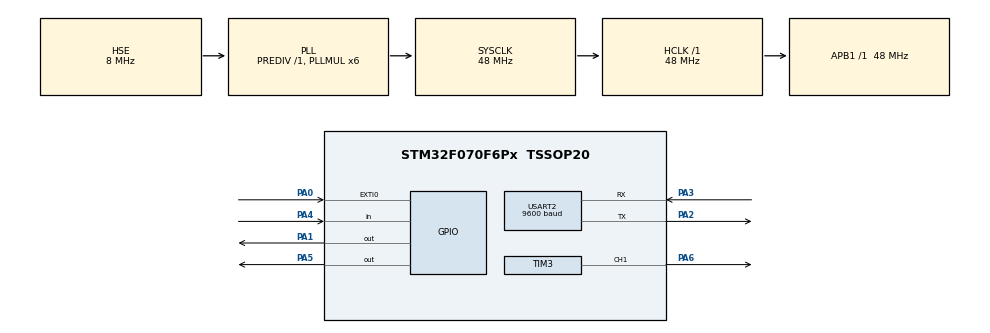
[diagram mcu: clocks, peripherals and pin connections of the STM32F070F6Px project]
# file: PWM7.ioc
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Dma.Request0=USART2_TX
Dma.Request1=USART2_RX
Dma.USART2_RX.1.Direction=DMA_PERIPH_TO_MEMORY
Dma.USART2_RX.1.Instance=DMA1_Channel5
Dma.USART2_RX.1.MemDataAlignment=DMA_MDATAALIGN_BYTE
Dma.USART2_RX.1.MemInc=DMA_MINC_ENABLE
Dma.USART2_RX.1.Mode=DMA_NORMAL
Dma.USART2_RX.1.PeriphDataAlignment=DMA_PDATAALIGN_BYTE
Dma.USART2_RX.1.PeriphInc=DMA_PINC_DISABLE
Dma.USART2_RX.1.Priority=DMA_PRIORITY_LOW
Dma.USART2_TX.0.Direction=DMA_MEMORY_TO_PERIPH
Dma.USART2_TX.0.Instance=DMA1_Channel4
Dma.USART2_TX.0.MemDataAlignment=DMA_MDATAALIGN_BYTE
Dma.USART2_TX.0.MemInc=DMA_MINC_ENABLE
Dma.USART2_TX.0.Mode=DMA_NORMAL
Dma.USART2_TX.0.PeriphDataAlignment=DMA_PDATAALIGN_BYTE
Dma.USART2_TX.0.PeriphInc=DMA_PINC_DISABLE
Dma.USART2_TX.0.Priority=DMA_PRIORITY_LOW
Mcu.Family=STM32F0
Mcu.Name=STM32F070F6Px
Mcu.Package=TSSOP20
NVIC.DMA1_Channel4_5_IRQn=true\:0\:0\:false\:false\:true\:false\:true\:true
NVIC.EXTI0_1_IRQn=true\:1\:0\:true\:true\:true\:1\:true\:true\:true
NVIC.TIM14_IRQn=true\:0\:0\:false\:false\:true\:true\:true\:true
NVIC.TIM1_BRK_UP_TRG_COM_IRQn=true\:0\:0\:false\:false\:true\:true\:true\:true
NVIC.TIM3_IRQn=true\:2\:0\:true\:true\:true\:2\:true\:true\:true
NVIC.USART2_IRQn=true\:3\:0\:true\:false\:true\:true\:true\:true
PA0.GPIO_PuPd=GPIO_PULLDOWN
PA0.Signal=GPXTI0
PA1.Signal=GPIO_Output
PA2.Mode=Asynchronous
PA2.Signal=USART2_TX
PA3.Mode=Asynchronous
PA3.Signal=USART2_RX
PA4.GPIO_PuPd=GPIO_PULLDOWN
PA4.Signal=GPIO_Input
PA5.Signal=GPIO_Output
PA6.Signal=S_TIM3_CH1
PF0-OSC_IN.Mode=HSE-External-Oscillator
PF0-OSC_IN.Signal=RCC_OSC_IN
PF1-OSC_OUT.Mode=HSE-External-Oscillator
PF1-OSC_OUT.Signal=RCC_OSC_OUT
ProjectManager.HeapSize=0x200
ProjectManager.StackSize=0x400
ProjectManager.TargetToolchain=STM32CubeIDE
RCC.AHBFreq_Value=48000000
RCC.APB1Freq_Value=48000000
RCC.APB1TimFreq_Value=48000000
RCC.HCLKFreq_Value=48000000
RCC.PLLMUL=RCC_PLL_MUL6
RCC.PLLSourceVirtual=RCC_PLLSOURCE_HSE
RCC.SYSCLKFreq_VALUE=48000000
RCC.SYSCLKSource=RCC_SYSCLKSOURCE_PLLCLK
SH.S_TIM3_CH1.0=TIM3_CH1,PWM Generation1 CH1
TIM1.Channel-Output\ Compare2\ No\ Output=TIM_CHANNEL_2
TIM1.Period=65535
TIM1.Prescaler=48-1
TIM1.Pulse-Output\ Compare2\ No\ Output=0
TIM14.Channel=TIM_CHANNEL_1
TIM14.Period=100-1
TIM14.Prescaler=48000-1
TIM3.Channel-PWM\ Generation1\ CH1=TIM_CHANNEL_1
TIM3.Period=50-1
TIM3.Prescaler=24-1
TIM3.Pulse-PWM\ Generation1\ CH1=25-1
USART2.BaudRate=9600
USART2.VirtualMode-Asynchronous=VM_ASYNC
VP_TIM14_VS_ClockSourceINT.Mode=Enable_Timer
VP_TIM14_VS_no_output1.Mode=Output Compare1 No Output
VP_TIM1_VS_ClockSourceINT.Mode=Internal
VP_TIM1_VS_no_output2.Mode=Output Compare2 No Output
board=custom

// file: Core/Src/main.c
/* USER CODE BEGIN Header */
/**
  ******************************************************************************
  * @file           : main.c
  * @brief          : Main program body
  ******************************************************************************
  * @attention
  *
  * <h2><center>&copy; Copyright (c) 2023 STMicroelectronics.
  * All rights reserved.</center></h2>
  *
  * This software component is licensed by ST under BSD 3-Clause license,
  * the "License"; You may not use this file except in compliance with the
  * License. You may obtain a copy of the License at:
  *                        opensource.org/licenses/BSD-3-Clause
  *
  ******************************************************************************
  */
/* USER CODE END Header */
#include "main.h"
#include "dma.h"
#include "tim.h"
#include "usart.h"
#include "gpio.h"

/* USER CODE BEGIN Includes */
#include <string.h>
#include <stdarg.h>
#include <stdio.h>
/* USER CODE END Includes */

/* USER CODE BEGIN PTD */
#define N3_VER  "V1.001"

//40Hz = 5000, 12Hz = 16666, 10Hz = 20000, 8Hz = 25000
#define freq_40Hz  5000-1;
#define freq_12Hz  16666-1;
#define freq_10Hz  20000-1;
#define freq_8Hz   25000-1;

#define MAX_RX_BUFFER 20
#define MAX_TX_BUFFER 50
#define MainBuf_SIZE 20
//Octave 4,5  ex) 48MHz / 240(prescale) / 440(4 octave A) = 455
enum notes{
	c = 7645,	c_s = 7215,	d = 6810,	d_s = 6428,    e = 6067,    f = 5727,    f_s = 5405,	g = 5102,	g_s = 4816,	a = 4545, 	a_s = 4290,	b = 4050, //4 octave
	C = 3822,	C_s = 3608,	D = 3405,	D_s = 3214,    E = 3034,    F = 2863,    F_s = 2703,	G = 2551,	G_s = 2408,	A = 2273, 	A_s = 2145,	B = 2025  //5 octave
};

uint16_t ms_count = 0;
uint16_t s_count = 0;
uint16_t PWM_Width = 1;
uint8_t RxBuffer[MAX_RX_BUFFER];
uint8_t TxBuffer[MAX_TX_BUFFER];
uint8_t MainBuffer[MainBuf_SIZE];
uint8_t TxBuffer_end = 0;
/* USER CODE END PTD */

/* USER CODE BEGIN PV */
uint8_t Tx_Ver[] = N3_VER;    //UART TX Buffer init
//Define Uart Command
char *search_COMMAND1 = "1";
char *search_COMMAND2 = "2";
char *search_COMMAND3 = "3";
char *search_COMMAND4 = "4";
char *search_COMMAND5 = "5";
char *search_COMMAND6 = "6";
char *search_COMMAND7 = "7";
char *search_STATUS   = "STATUS";
char *search_CONNECTED = "CONNECTED";
char *search_DISCONNECTED = "DISCONNECTED";
uint8_t Current_mode = 1;

uint16_t Close_Bell[] = { 0, C/2, A, F, C };
uint16_t Close_interval[] = { 250, 250, 250, 250, 250};
/* USER CODE END PV */

void SystemClock_Config(void);
static void MX_NVIC_Init(void);

/* USER CODE BEGIN 0 */
_Bool status = 0; // 1?��?�� ?��?��, 0?��?�� 종료

uint8_t rx2_data;
uint8_t opcode = '0';
uint8_t Charging_Status;

void startBR(){
	if(status)
	{
		HAL_TIM_PWM_Stop(&htim3, TIM_CHANNEL_1);
		HAL_GPIO_WritePin(GPIOA, GPIO_PIN_1, GPIO_PIN_RESET);
		status = 0;
	}
	else
	{
		status = 1;
		TIM3->PSC = 240-1;
		TIM3->ARR = freq_40Hz;
		TIM3->CCR1 = TIM3->ARR/2-1; //Duty 50:50
		HAL_TIM_PWM_Start(&htim3, TIM_CHANNEL_1);
		HAL_GPIO_WritePin(GPIOA, GPIO_PIN_1, GPIO_PIN_SET);
//		TIM1->CCR1 = 0;

	}
}
void Sound_Open(){
	//	uint16_t LG_Bell[] =  { D/2, G/2, F_s/2, E/2, D/2, b/2, C/2, D/2, E/2, a/2, b/2, C/2, b/2, D/2,
	//							D/2, G/2, F_s/2, E/2, D/2, G/2, G/2, A/2, G/2, F_s/2, E/2, F_s/2, G/2 };
	//	uint16_t LG_interval[] = {	375, 166, 166, 166, 375, 375, 166, 166, 166, 166, 166, 166, 375, 375, 375, 166, 166, 166, 375, 375, 166, 166, 166, 166, 166, 166, 500};

	uint16_t Bell[] =  { D, G, B, D/2 };
	uint16_t interval[] = {	250, 250, 250, 250 };
	if (TIM3->PSC != 24-1) { TIM3->PSC = 24-1 ; } //prescaler change
	for(int i=0; i < (sizeof(Bell)/sizeof(Bell[0])); i++)
		{
		HAL_TIM_PWM_Start(&htim3, TIM_CHANNEL_1);
		  TIM3->ARR = Bell[i]-1;
		  TIM3->CCR1 = TIM3->ARR/2-1;
//		  PWM_Width = (TIM3->ARR+1)/500;

		  for(int j=502; j>2; j--)
		  {
			  TIM3->CCR1 = (TIM3->ARR/2) - (TIM3->ARR/j);
			  delay_us(interval[i]*2);
		  }
		  HAL_TIM_PWM_Stop(&htim3, TIM_CHANNEL_1);
		}

}
void Sound_Close(){

	if (TIM3->PSC != 24-1) { TIM3->PSC = 24-1 ; } //prescaler change
	for(int i=0; i < (sizeof(Close_Bell)/sizeof(Close_Bell[0])); i++)
	{
	  HAL_TIM_PWM_Start(&htim3, TIM_CHANNEL_1);
	  TIM3->ARR = Close_Bell[i]-1;
	  if(TIM3->ARR != Close_Bell[i]-1) { TIM3->ARR = Close_Bell[i]-1;   }//frequency
//		  PWM_Width = (TIM3->ARR+1)/500;

	  for(int j=502; j>2; j--)
	  {
		  TIM3->CCR1 = (TIM3->ARR/2) - (TIM3->ARR/j); //duty ratio
		  delay_us(Close_interval[i]*2);
	  }
	  HAL_TIM_PWM_Stop(&htim3, TIM_CHANNEL_1);
	}

}
/* USER CODE END 0 */

int main(void)
{

  /* MCU Configuration--------------------------------------------------------*/

  /* Reset of all peripherals, Initializes the Flash interface and the Systick. */
  HAL_Init();

  /* USER CODE BEGIN Init */
  HAL_Delay(300);
  /* USER CODE END Init */

  /* Configure the system clock */
  SystemClock_Config();

  /* Initialize all configured peripherals */
  MX_GPIO_Init();
  MX_DMA_Init();
  MX_TIM3_Init();
  MX_USART2_UART_Init();
  MX_TIM1_Init();
  MX_TIM14_Init();

  /* Initialize interrupts */
  MX_NVIC_Init();
  /* USER CODE BEGIN 2 */

  HAL_TIM_Base_Start(&htim1); //for delay_us

  if(HAL_GPIO_ReadPin(GPIOA, GPIO_PIN_4)==1) { HAL_GPIO_WritePin(GPIOA, GPIO_PIN_5, 0);  } //if N3 Status is Charing, Shut down System.
  else{
	  HAL_GPIO_WritePin(GPIOA, GPIO_PIN_5, 1); // Turn on Status LED
	  HAL_Delay(100);
	//  Sound_Close();
	//  HAL_Delay(1000);
	  Sound_Open();
	  HAL_Delay(1000);
	  HAL_TIM_Base_Start_IT(&htim14); //for timer interrupt
	  /* UART Rx_DMA */
	  HAL_UARTEx_ReceiveToIdle_DMA(&huart2, RxBuffer, MAX_RX_BUFFER); // Receive an amount of data in DMA mode till either the expected number of data is received or an IDLE event occurs.
	  __HAL_DMA_DISABLE_IT(&hdma_usart2_rx, DMA_IT_HT);
	  /* UART Rx_DMA */
	  status = 0;
	  startBR();
	  HAL_Delay(100);
	//  Sound_Close();
	//  HAL_TIM_Base_Stop(&htim1);
	//  HAL_GPIO_WritePin(GPIOA, GPIO_PIN_5, 0); //LDO Off

	  /* USER CODE END 2 */

	  /* Infinite loop */
	  /* USER CODE BEGIN WHILE */
  }
  while (1)
  {
	  while(Charging_Status == 0)
	  {
		  if(s_count < 1800) //1800 s = 30min
		  {

			  HAL_UARTEx_ReceiveToIdle_DMA(&huart2, RxBuffer, MAX_RX_BUFFER);
			__HAL_DMA_DISABLE_IT(&hdma_usart2_rx, DMA_IT_HT);

		  }
		  else if(s_count >= 1800)
		  {
			  HAL_TIM_PWM_Stop(&htim3, TIM_CHANNEL_1);
			  Sound_Close();
			  HAL_TIM_Base_Stop(&htim1);
			  HAL_GPIO_WritePin(GPIOA, GPIO_PIN_5, 0); //LDO Off
		  }
	  }

    /* USER CODE END WHILE */

  }
}

void SystemClock_Config(void)
{
  RCC_OscInitTypeDef RCC_OscInitStruct = {0};
  RCC_ClkInitTypeDef RCC_ClkInitStruct = {0};

  /** Initializes the RCC Oscillators according to the specified parameters
  * in the RCC_OscInitTypeDef structure.
  */
  RCC_OscInitStruct.OscillatorType = RCC_OSCILLATORTYPE_HSE;
  RCC_OscInitStruct.HSEState = RCC_HSE_ON;
  RCC_OscInitStruct.PLL.PLLState = RCC_PLL_ON;
  RCC_OscInitStruct.PLL.PLLSource = RCC_PLLSOURCE_HSE;
  RCC_OscInitStruct.PLL.PLLMUL = RCC_PLL_MUL6;
  RCC_OscInitStruct.PLL.PREDIV = RCC_PREDIV_DIV1;
  if (HAL_RCC_OscConfig(&RCC_OscInitStruct) != HAL_OK)
  {
    Error_Handler();
  }
  /** Initializes the CPU, AHB and APB buses clocks
  */
  RCC_ClkInitStruct.ClockType = RCC_CLOCKTYPE_HCLK|RCC_CLOCKTYPE_SYSCLK
                              |RCC_CLOCKTYPE_PCLK1;
  RCC_ClkInitStruct.SYSCLKSource = RCC_SYSCLKSOURCE_PLLCLK;
  RCC_ClkInitStruct.AHBCLKDivider = RCC_SYSCLK_DIV1;
  RCC_ClkInitStruct.APB1CLKDivider = RCC_HCLK_DIV1;

  if (HAL_RCC_ClockConfig(&RCC_ClkInitStruct, FLASH_LATENCY_1) != HAL_OK)
  {
    Error_Handler();
  }
}

/**
  * @brief NVIC Configuration.
  * @retval None
  */
static void MX_NVIC_Init(void)
{
  /* EXTI0_1_IRQn interrupt configuration */
  HAL_NVIC_SetPriority(EXTI0_1_IRQn, 1, 0);
  HAL_NVIC_EnableIRQ(EXTI0_1_IRQn);
  /* TIM3_IRQn interrupt configuration */
  HAL_NVIC_SetPriority(TIM3_IRQn, 2, 0);
  HAL_NVIC_EnableIRQ(TIM3_IRQn);
}

/* USER CODE BEGIN 4 */
void HAL_TIM_PeriodElapsedCallback(TIM_HandleTypeDef *htim)
{
	if(htim->Instance == TIM14)
	{
		Charging_Status = HAL_GPIO_ReadPin(GPIOA, GPIO_PIN_4);
		if(Charging_Status == 1) { HAL_GPIO_WritePin(GPIOA, GPIO_PIN_5, 0); HAL_TIM_Base_Stop(&htim1); HAL_TIM_PWM_Stop(&htim3, TIM_CHANNEL_1);} //if N3 Status is Charing, Shut down System.
//		if(status == 0)
//		{
			ms_count++;
			if(ms_count >= 10) { s_count++; ms_count = 0; } //TIM14 100ms interrupt 100ms* 10= 1s
			if(s_count >= 65535) { s_count = 0; }
//	}
	}
}
void HAL_UARTEx_RxEventCallback(UART_HandleTypeDef *huart, uint16_t Size)
//void HAL_UART_RxCpltCallback(UART_HandleTypeDef *huart)
{

	if(huart->Instance == USART2)
	{
//		HAL_GPIO_TogglePin(GPIOA, GPIO_PIN_1);
		memcpy(MainBuffer, RxBuffer, sizeof(RxBuffer));
		memset(RxBuffer, 0, sizeof(RxBuffer));

		if(strstr((const char *)MainBuffer, search_CONNECTED) != NULL)// DIS"CONNECTED , CONNECTED
		{

			if(strstr((const char *)MainBuffer, search_DISCONNECTED) != NULL)
			{ 	HAL_GPIO_WritePin(GPIOA, GPIO_PIN_1, 1); }//if BT disconnected, turn on power LED.
			else
			{	HAL_GPIO_WritePin(GPIOA, GPIO_PIN_1, 0); }//if BT connected, turn off power LED.}
			TxBuffer_end = strlen((const char *)MainBuffer);
				print("%s",MainBuffer);
		}
		else if(strstr((const char *)MainBuffer, search_COMMAND1) != NULL)
		{
			HAL_TIM_PWM_Stop(&htim3, TIM_CHANNEL_1);
			TIM3->PSC = 240-1; //prescaler change		//Duty ON:OFF = 50:50
			TIM3->ARR = freq_40Hz; //
			TIM3->CCR1 = (TIM3->ARR+1)/2-1;
			HAL_TIM_PWM_Start(&htim3, TIM_CHANNEL_1);
			Current_mode = 1;

			TxBuffer_end = strlen((const char *)MainBuffer);
			print("%s",MainBuffer);
		}
		else if(strstr((const char *)MainBuffer, search_COMMAND2) != NULL)
		{
			HAL_TIM_PWM_Stop(&htim3, TIM_CHANNEL_1);
			TIM3->PSC = 240-1; //prescaler change		//Duty ON:OFF = 25:75
			TIM3->ARR = freq_40Hz; //40Hz
			TIM3->CCR1 = (TIM3->ARR+1)/4-1;
			HAL_TIM_PWM_Start(&htim3, TIM_CHANNEL_1);
			Current_mode = 2;
			TxBuffer_end = strlen((const char *)MainBuffer);
			print("%s",MainBuffer);
		}
		else if(strstr((const char *)MainBuffer, search_COMMAND3) != NULL)
		{
			HAL_TIM_PWM_Stop(&htim3, TIM_CHANNEL_1);
			TIM3->PSC = 240-1; //prescaler change		//Duty ON:OFF = 20:80
			TIM3->ARR = freq_40Hz; //40Hz
			TIM3->CCR1 = (TIM3->ARR+1)/5-1;
			HAL_TIM_PWM_Start(&htim3, TIM_CHANNEL_1);
			Current_mode = 3;
			TxBuffer_end = strlen((const char *)MainBuffer);
			print("%s",MainBuffer);
		}
		else if(strstr((const char *)MainBuffer, search_COMMAND4) != NULL)
		{
			HAL_TIM_PWM_Stop(&htim3, TIM_CHANNEL_1);
			TIM3->PSC = 240-1; //prescaler change		//Duty ON:OFF = 10:90
			TIM3->ARR = freq_40Hz; //40Hz
			TIM3->CCR1 = (TIM3->ARR+1)/10-1;
			HAL_TIM_PWM_Start(&htim3, TIM_CHANNEL_1);
			Current_mode = 4;
			TxBuffer_end = strlen((const char *)MainBuffer);
			print("%s",MainBuffer);
		}
		else if(strstr((const char *)MainBuffer, search_COMMAND5) != NULL)
		{
			HAL_TIM_PWM_Stop(&htim3, TIM_CHANNEL_1);
			TIM3->PSC = 240-1; //prescaler change		//Duty ON:OFF = 50:50
			TIM3->ARR = freq_12Hz; //12Hz
			TIM3->CCR1 = (TIM3->ARR+1)/2-1;
			HAL_TIM_PWM_Start(&htim3, TIM_CHANNEL_1);
			Current_mode = 5;
			TxBuffer_end = strlen((const char *)MainBuffer);
			print("%s",MainBuffer);
		}
		else if(strstr((const char *)MainBuffer, search_COMMAND6) != NULL)
		{
			HAL_TIM_PWM_Stop(&htim3, TIM_CHANNEL_1);
			TIM3->PSC = 240-1; //prescaler change		//Duty ON:OFF = 50:50
			TIM3->ARR = freq_10Hz; //10Hz
			TIM3->CCR1 = (TIM3->ARR+1)/2-1;
			HAL_TIM_PWM_Start(&htim3, TIM_CHANNEL_1);
			Current_mode = 6;
			TxBuffer_end = strlen((const char *)MainBuffer);
			print("%s",MainBuffer);
		}
		else if(strstr((const char *)MainBuffer, search_COMMAND7) != NULL)
		{
			HAL_TIM_PWM_Stop(&htim3, TIM_CHANNEL_1);
			TIM3->PSC = 240-1; //prescaler change		//Duty ON:OFF = 50:50
			TIM3->ARR = freq_8Hz; //8Hz
			TIM3->CCR1 = (TIM3->ARR+1)/2-1;
			HAL_TIM_PWM_Start(&htim3, TIM_CHANNEL_1);
			Current_mode = 7;
			TxBuffer_end = strlen((const char *)MainBuffer);
			print("%s",MainBuffer);
		}
		else if(strstr((const char *)MainBuffer, search_STATUS) != NULL)
		{
			sprintf((char*) &TxBuffer, "%s\r\n",N3_VER);
//			TxBuffer_end = strlen((const char *)TxBuffer)+2;
			TxBuffer_end = sizeof(TxBuffer);
			print("%s", TxBuffer);
			sprintf((char*) &TxBuffer, "%d sec\r\n", s_count);
//			TxBuffer_end = strlen((const char *)TxBuffer)+2;
			TxBuffer_end = sizeof(TxBuffer);
			print("%s", TxBuffer);
			sprintf((char*) &TxBuffer, "mode: %d\r\n", Current_mode);
//			TxBuffer_end = strlen((const char *)TxBuffer)+2;
			TxBuffer_end = sizeof(TxBuffer);
			print("%s", TxBuffer);
		}
		else
		{
			sprintf((char*) &TxBuffer, "Unknown Command\r\n" );
//			TxBuffer_end = strlen((const char *)TxBuffer+4);
			TxBuffer_end = sizeof(TxBuffer);
			print("%s",TxBuffer);
		}

	memset(MainBuffer, 0, sizeof(MainBuffer));	//MainBuffer clear
	memset(RxBuffer, 0, sizeof(MAX_RX_BUFFER)); //RxBuffer clear

	HAL_UARTEx_ReceiveToIdle_DMA(&huart2, RxBuffer, MAX_RX_BUFFER);
	__HAL_DMA_DISABLE_IT(&hdma_usart2_rx, DMA_IT_HT);
	}
}
//void HAL_UART_RxCpltCallback(UART_HandleTypeDef *huart)
//{
//	HAL_GPIO_TogglePin(GPIOA, GPIO_PIN_1);
//	RxBuffer[RxIndex++] = rx2_data;
//	HAL_UART_Receive_IT(&huart2, &rx2_data, 1);
	/*
	if(huart->Instance == USART2)
	{
		HAL_UART_Receive_IT(&huart2, &rx2_data, 1);
		int freq = 5000;
		if(rx2_data=='1')
		{
			freq = 5000;		//Duty ON:OFF = 50:50
			TIM3->ARR = freq-1;
			TIM3->CCR1 = freq/2-1;
			HAL_UART_Transmit(&huart2, &rx2_data, 1, 10);
//			HAL_UART_Transmit(&huart2, &opcode, 1, 10);
		}
		else if(rx2_data=='2')
		{
			freq = 5000;		//Duty ON:OFF = 25:75
			TIM3->ARR = freq-1;
			TIM3->CCR1 = freq/4-1;
			HAL_UART_Transmit(&huart2, &rx2_data, 1, 10);
//			HAL_UART_Transmit(&huart2, &opcode, 1, 10);
		}
		else if(rx2_data=='3')
		{
			freq = 5000;		//Duty ON:OFF = 20:80
			TIM3->ARR = freq-1;
			TIM3->CCR1 = freq/5-1;
			HAL_UART_Transmit(&huart2, &rx2_data, 1, 10);
//			HAL_UART_Transmit(&huart2, &opcode, 1, 10);
		}
		else if(rx2_data=='4')
		{
			int freq = 5000;		//Duty ON:OFF = 10:90
			TIM3->ARR = freq-1;
			TIM3->CCR1 = freq/10-1;
			HAL_UART_Transmit(&huart2, &rx2_data, 1, 10);
//			HAL_UART_Transmit(&huart2, &opcode, 1, 10);
		}
		else if(rx2_data=='5')
		{
			freq = 16666;		//40Hz = 5000, 12Hz = 16666, 10Hz = 20000, 8Hz = 25000
			TIM3->ARR = freq-1;
			TIM3->CCR1 = freq/2-1;
			HAL_UART_Transmit(&huart2, &rx2_data, 1, 10);
//			HAL_UART_Transmit(&huart2, &opcode, 1, 10);
		}
		else if(rx2_data=='6')
		{
			freq = 20000;		//40Hz = 5000, 12Hz = 16666, 10Hz = 20000, 8Hz = 25000
			TIM3->ARR = freq-1;
			TIM3->CCR1 = freq/2-1;
			HAL_UART_Transmit(&huart2, &rx2_data, 1, 10);
//			HAL_UART_Transmit(&huart2, &opcode, 1, 10);
		}
		else if(rx2_data=='7')
		{
			freq = 25000;		//40Hz = 5000, 12Hz = 16666, 10Hz = 20000, 8Hz = 25000
			TIM3->ARR = freq-1;
			TIM3->CCR1 = freq/2-1;
			HAL_UART_Transmit(&huart2, &rx2_data, 1, 10);
//			HAL_UART_Transmit(&huart2, &opcode, 1, 10);
		}
		else
		{
			int freq = 5000;		//40Hz = 5000, 12Hz = 16666, 10Hz = 20000, 8Hz = 25000
			TIM3->ARR = freq-1;
			TIM3->CCR1 = freq/2-1;
			HAL_UART_Transmit(&huart2, &rx2_data, 1, 10);
//			HAL_UART_Transmit(&huart2, &opcode, 1, 10);
		}
	}
	*/
//}
void delay_us(uint16_t time) {
	__HAL_TIM_SET_COUNTER(&htim1, 0);              // TIM1 for delay
	while((__HAL_TIM_GET_COUNTER(&htim1))<time);   // 1us count
}

void HAL_GPIO_EXTI_Callback(uint16_t GPIO_Pin)
{
	//POWER SWITCH PUSHED
	if(GPIO_Pin == GPIO_PIN_0 && status == 1)
	{
		HAL_TIM_PWM_Stop(&htim3, TIM_CHANNEL_1);
		Sound_Close();
		HAL_GPIO_WritePin(GPIOA, GPIO_PIN_5, 0); //LDO off
	}

}

//for UART_TX_DMA
void print(char *fmt, ...){

	while(huart2.gState != HAL_UART_STATE_READY);
	va_list args;

	va_start(args, fmt);
	vsprintf((char *)TxBuffer, fmt, args);
	va_end(args);

	if(huart2.gState == HAL_UART_STATE_READY)
	{
		HAL_UART_Transmit(&huart2, TxBuffer, TxBuffer_end, 10);
		memset(TxBuffer, 0, sizeof(TxBuffer));	//TxBuffer clear}
		TxBuffer_end = 0;
	}
}

/* USER CODE END 4 */

void Error_Handler(void)
{
  __disable_irq();
  while (1)
  {
  }
}

/************************ (C) COPYRIGHT STMicroelectronics *****END OF FILE****/
